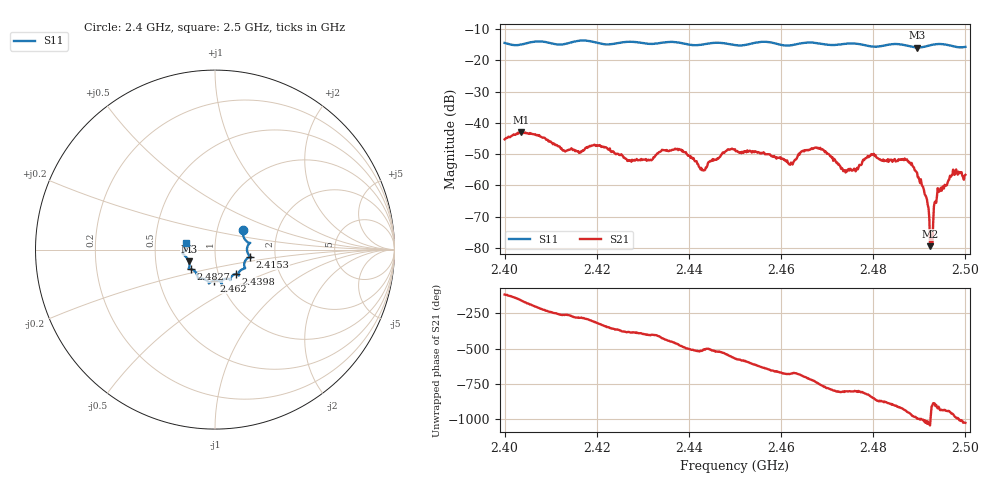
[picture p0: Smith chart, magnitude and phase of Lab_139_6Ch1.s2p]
# Hz S RI R 50
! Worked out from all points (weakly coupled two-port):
!   601 points, 2.4 GHz to 2.5 GHz, reference 50 ohm
!   highest |S21| = -42.97 dB at 2.4035 GHz (marker M1); lowest = -79.4 dB at 2.4923 GHz (marker M2)
!   lowest |S11| = -15.9 dB at 2.4895 GHz (marker M3), VSWR 1.38, Z = 37 - j5.02 ohm
!   |S11| at or under -10 dB: start of sweep to end of sweep
!   S12 and S22 are empty: the file has one direction only
!   S11 on the Smith chart (normalised r, x): 2.4 GHz: 1.33, +0.30; 2.4153 GHz: 1.48, -0.12; 2.4398 GHz: 1.21, -0.34; 2.462 GHz: 0.93, -0.33; 2.4827 GHz: 0.75, -0.17; 2.5 GHz: 0.72, +0.06
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2.4e9  0.1559 0.1072  -0.00234 -0.00493  0 0  0 0
2.4035e9  0.1699 0.0526  -0.0065 -0.00286  0 0  0 0
2.415333e9  0.1962 -0.039  0.000536 0.00347  0 0  0 0
2.416667e9  0.2022 -0.0429  0.000587 0.00348  0 0  0 0
2.433333e9  0.1306 -0.1333  0.00208 -0.00254  0 0  0 0
2.439833e9  0.1158 -0.1361  -0.00228 -0.00189  0 0  0 0
2.443e9  0.089 -0.1549  -0.00158 -0.000808  0 0  0 0
2.45e9  0.0653 -0.1623  -0.00323 0.00197  0 0  0 0
2.462e9  -0.00466 -0.1729  0.00163 0.00138  0 0  0 0
2.466667e9  -0.0341 -0.1885  0.00392 -0.000242  0 0  0 0
2.473833e9  -0.0876 -0.1605  0.0002 -0.00174  0 0  0 0
2.479667e9  -0.1073 -0.1267  -0.0018 -0.0026  0 0  0 0
2.482667e9  -0.1351 -0.109  -0.00233 -0.000824  0 0  0 0
2.483333e9  -0.1402 -0.1086  -0.00233 -0.000475  0 0  0 0
2.4895e9  -0.1455 -0.0661  0.000246 0.00159  0 0  0 0
2.4915e9  -0.1625 -0.0393  0.000283 0.000585  0 0  0 0
2.492333e9  -0.1704 -0.0315  8.99e-05 5.77e-05  0 0  0 0
2.492833e9  -0.1745 -0.0279  -0.000111 1.01e-05  0 0  0 0
2.493667e9  -0.1792 -0.0238  -0.000527 9.65e-06  0 0  0 0
2.4945e9  -0.1803 -0.0212  -0.000659 0.000515  0 0  0 0
2.4975e9  -0.1663 -0.00213  -0.0004 0.00154  0 0  0 0
2.5e9  -0.1591 0.0382  0.000924 0.00115  0 0  0 0
